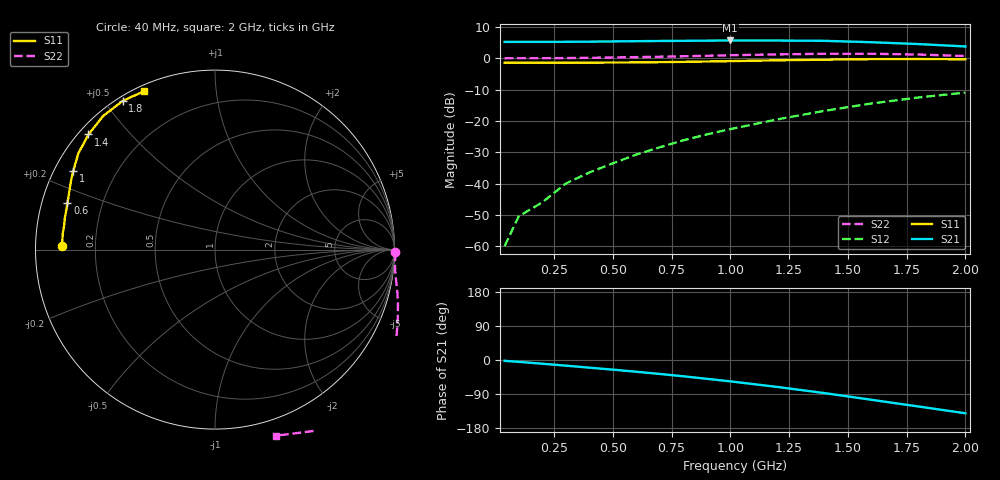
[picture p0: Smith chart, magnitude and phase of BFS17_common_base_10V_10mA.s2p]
! Filename:  BFS17CBH.S2P  Version:  2.0
! Philips part #: BFS17  Date: Jul 1990
! Bias condition: Vce=10V, Ic=10mA
! COMMON BASE
#  MHz  S  MA  R  50
! Freq  S11  S21  S12  S22
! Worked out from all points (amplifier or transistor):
!   16 points, 40 MHz to 2 GHz, reference 50 ohm
!   highest |S21| = 5.7 dB at 1 GHz (marker M1)
!   |S21| within 3 dB of that: start of sweep to end of sweep
!   unconditionally stable (mu >= 1): nowhere
!   at 200 MHz: K = -0.47, MSG = 25.6 dB, |S12| = -46.0 dB
!   at 800 MHz: K = -0.83, MSG = 15.9 dB, |S12| = -26.2 dB
!   at 2 GHz: K = -0.13, MSG = 7.4 dB, |S12| = -10.9 dB
!   S11 on the Smith chart (normalised r, x): 40 MHz: 0.08, +0.01; 600 MHz: 0.08, +0.15; 1 GHz: 0.05, +0.26; 1.4 GHz: 0.03, +0.39; 1.8 GHz: 0.02, +0.56; 2 GHz: 0.02, +0.65
40  0.855 178.6  1.831 -2.2  0.001 81.0  1.002 -0.9
100  0.852 177.0  1.832 -4.9  0.003 87.6  1.005 -2.0
200  0.853 174.0  1.833 -9.8  0.005 111.8  1.005 -4.3
300  0.851 171.1  1.837 -14.9  0.01 121.6  1.01 -6.5
400  0.855 168.2  1.847 -20.2  0.015 126.8  1.02 -8.9
500  0.857 165.3  1.864 -25.4  0.021 131.0  1.032 -11.2
600  0.862 162.5  1.881 -31.0  0.029 134.1  1.046 -13.6
700  0.869 159.7  1.894 -36.8  0.038 135.4  1.062 -16.3
800  0.879 156.9  1.904 -43.0  0.049 135.8  1.079 -19.2
900  0.891 154.0  1.917 -49.6  0.061 135.7  1.099 -22.3
1000  0.903 151.0  1.931 -56.4  0.074 135.4  1.121 -25.6
1200  0.931 144.9  1.924 -71.1  0.106 133.2  1.157 -33.2
1400  0.953 137.7  1.905 -87.3  0.145 129.0  1.184 -41.9
1600  0.971 129.9  1.809 -105.0  0.19 124.4  1.184 -51.3
1800  0.975 121.8  1.692 -122.7  0.237 118.0  1.15 -61.5
2000  0.967 114.0  1.548 -140.6  0.284 111.3  1.091 -71.9
